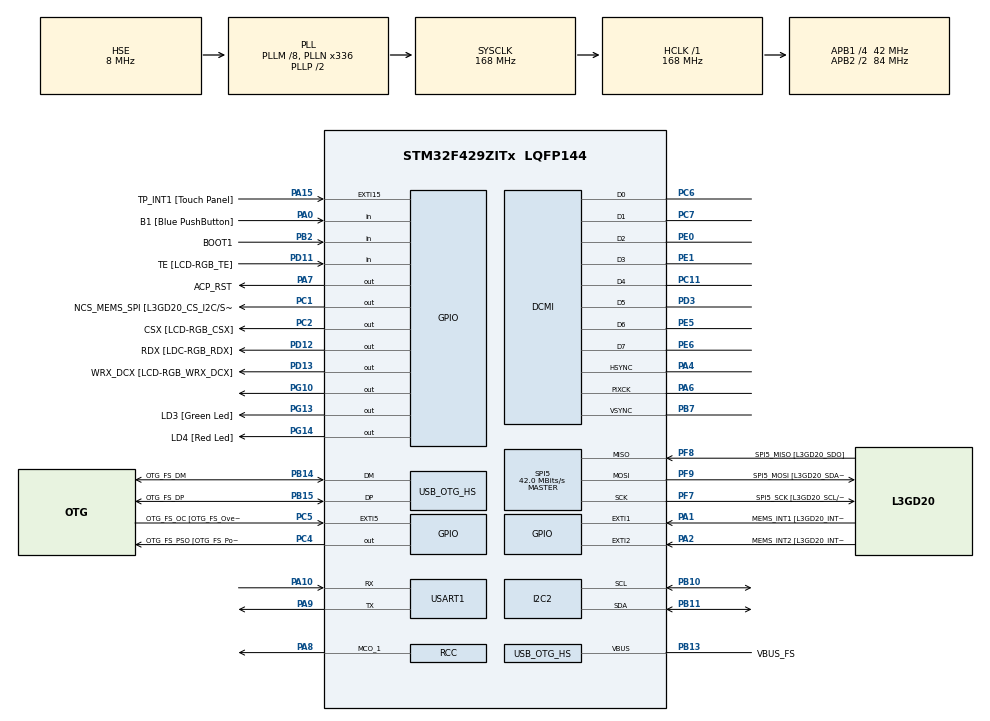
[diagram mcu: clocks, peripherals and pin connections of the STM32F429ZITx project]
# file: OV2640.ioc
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DCMI.JPEGMode=DCMI_JPEG_ENABLE
DCMI.PCKPolarity=DCMI_PCKPOLARITY_RISING
Dma.DCMI.0.Direction=DMA_PERIPH_TO_MEMORY
Dma.DCMI.0.FIFOMode=DMA_FIFOMODE_ENABLE
Dma.DCMI.0.FIFOThreshold=DMA_FIFO_THRESHOLD_FULL
Dma.DCMI.0.Instance=DMA2_Stream1
Dma.DCMI.0.MemBurst=DMA_MBURST_SINGLE
Dma.DCMI.0.MemDataAlignment=DMA_MDATAALIGN_WORD
Dma.DCMI.0.MemInc=DMA_MINC_ENABLE
Dma.DCMI.0.Mode=DMA_NORMAL
Dma.DCMI.0.PeriphBurst=DMA_PBURST_SINGLE
Dma.DCMI.0.PeriphDataAlignment=DMA_PDATAALIGN_WORD
Dma.DCMI.0.PeriphInc=DMA_PINC_DISABLE
Dma.DCMI.0.Priority=DMA_PRIORITY_VERY_HIGH
Dma.Request0=DCMI
Mcu.Family=STM32F4
Mcu.Name=STM32F429ZITx
Mcu.Package=LQFP144
NVIC.DMA2_Stream1_IRQn=true\:0\:0\:false\:false\:true\:false
NVIC.OTG_HS_IRQn=true\:0\:0\:false\:false\:true\:true
NVIC.PriorityGroup=NVIC_PRIORITYGROUP_0
PA0/WKUP.GPIO_Label=B1 [Blue PushButton]
PA0/WKUP.Signal=GPIO_Input
PA1.GPIO_Label=MEMS_INT1 [L3GD20_INT1]
PA1.GPIO_ModeDefaultEXTI=GPIO_MODE_EVT_RISING
PA1.GPIO_PuPd=GPIO_NOPULL
PA1.Signal=GPXTI1
PA10.Mode=Asynchronous
PA10.Signal=USART1_RX
PA13.GPIO_Label=SWDIO
PA13.Mode=Serial_Wire
PA13.Signal=SYS_JTMS-SWDIO
PA14.GPIO_Label=SWCLK
PA14.Mode=Serial_Wire
PA14.Signal=SYS_JTCK-SWCLK
PA15.GPIO_Label=TP_INT1 [Touch Panel]
PA15.GPIO_ModeDefaultEXTI=GPIO_MODE_EVT_RISING
PA15.GPIO_PuPd=GPIO_NOPULL
PA15.Signal=GPXTI15
PA2.GPIO_Label=MEMS_INT2 [L3GD20_INT2]
PA2.GPIO_ModeDefaultEXTI=GPIO_MODE_EVT_RISING
PA2.GPIO_PuPd=GPIO_NOPULL
PA2.Signal=GPXTI2
PA4.Mode=Slave_8_bits_External_Synchro
PA4.Signal=DCMI_HSYNC
PA6.Mode=Slave_8_bits_External_Synchro
PA6.Signal=DCMI_PIXCK
PA7.GPIO_Label=ACP_RST
PA7.GPIO_Mode=GPIO_MODE_OUTPUT_PP
PA7.GPIO_PuPd=GPIO_NOPULL
PA7.GPIO_Speed=GPIO_SPEED_FREQ_LOW
PA7.Signal=GPIO_Output
PA8.GPIO_Speed=GPIO_SPEED_FREQ_VERY_HIGH
PA8.Mode=Clock-out-1
PA8.Signal=RCC_MCO_1
PA9.Mode=Asynchronous
PA9.Signal=USART1_TX
PB10.Mode=I2C
PB10.Signal=I2C2_SCL
PB11.Mode=I2C
PB11.Signal=I2C2_SDA
PB13.GPIO_Label=VBUS_FS
PB13.GPIO_Mode=GPIO_MODE_INPUT
PB13.GPIO_PuPd=GPIO_NOPULL
PB13.Mode=Activate_VBUS_FS
PB13.Signal=USB_OTG_HS_VBUS
PB14.GPIO_Label=OTG_FS_DM
PB14.GPIO_Mode=GPIO_MODE_AF_PP
PB14.GPIO_PuPd=GPIO_NOPULL
PB14.GPIO_Speed=GPIO_SPEED_FREQ_LOW
PB14.Mode=Host_FS
PB14.Signal=USB_OTG_HS_DM
PB15.GPIO_Label=OTG_FS_DP
PB15.GPIO_Mode=GPIO_MODE_AF_PP
PB15.GPIO_PuPd=GPIO_NOPULL
PB15.GPIO_Speed=GPIO_SPEED_FREQ_LOW
PB15.Mode=Host_FS
PB15.Signal=USB_OTG_HS_DP
PB2/BOOT1.GPIO_Label=BOOT1
PB2/BOOT1.GPIO_Mode=GPIO_MODE_INPUT
PB2/BOOT1.GPIO_PuPd=GPIO_NOPULL
PB2/BOOT1.Signal=GPIO_Input
PB7.Mode=Slave_8_bits_External_Synchro
PB7.Signal=DCMI_VSYNC
PC1.GPIO_Label=NCS_MEMS_SPI [L3GD20_CS_I2C/SPI]
PC1.GPIO_Mode=GPIO_MODE_OUTPUT_PP
PC1.GPIO_PuPd=GPIO_NOPULL
PC1.GPIO_Speed=GPIO_SPEED_FREQ_LOW
PC1.Signal=GPIO_Output
PC11.Mode=Slave_8_bits_External_Synchro
PC11.Signal=DCMI_D4
PC2.GPIO_Label=CSX [LCD-RGB_CSX]
PC2.GPIO_Mode=GPIO_MODE_OUTPUT_PP
PC2.GPIO_PuPd=GPIO_NOPULL
PC2.GPIO_Speed=GPIO_SPEED_FREQ_LOW
PC2.Signal=GPIO_Output
PC4.GPIO_Label=OTG_FS_PSO [OTG_FS_PowerSwitchOn]
PC4.GPIO_Mode=GPIO_MODE_OUTPUT_PP
PC4.GPIO_PuPd=GPIO_NOPULL
PC4.GPIO_Speed=GPIO_SPEED_FREQ_LOW
PC4.Signal=GPIO_Output
PC5.GPIO_Label=OTG_FS_OC [OTG_FS_OverCurrent]
PC5.GPIO_ModeDefaultEXTI=GPIO_MODE_EVT_RISING
PC5.Signal=GPXTI5
PC6.Mode=Slave_8_bits_External_Synchro
PC6.Signal=DCMI_D0
PC7.Mode=Slave_8_bits_External_Synchro
PC7.Signal=DCMI_D1
PD11.GPIO_Label=TE [LCD-RGB_TE]
PD11.GPIO_Mode=GPIO_MODE_INPUT
PD11.GPIO_PuPd=GPIO_NOPULL
PD11.Signal=GPIO_Input
PD12.GPIO_Label=RDX [LDC-RGB_RDX]
PD12.GPIO_Mode=GPIO_MODE_OUTPUT_PP
PD12.GPIO_PuPd=GPIO_NOPULL
PD12.GPIO_Speed=GPIO_SPEED_FREQ_LOW
PD12.Signal=GPIO_Output
PD13.GPIO_Label=WRX_DCX [LCD-RGB_WRX_DCX]
PD13.GPIO_Mode=GPIO_MODE_OUTPUT_PP
PD13.GPIO_PuPd=GPIO_NOPULL
PD13.GPIO_Speed=GPIO_SPEED_FREQ_LOW
PD13.Signal=GPIO_Output
PD3.Mode=Slave_8_bits_External_Synchro
PD3.Signal=DCMI_D5
PE0.Mode=Slave_8_bits_External_Synchro
PE0.Signal=DCMI_D2
PE1.Mode=Slave_8_bits_External_Synchro
PE1.Signal=DCMI_D3
PE5.Mode=Slave_8_bits_External_Synchro
PE5.Signal=DCMI_D6
PE6.Mode=Slave_8_bits_External_Synchro
PE6.Signal=DCMI_D7
PF7.GPIO_Label=SPI5_SCK [L3GD20_SCL/SPC]
PF7.GPIO_Mode=GPIO_MODE_AF_PP
PF7.GPIO_PuPd=GPIO_NOPULL
PF7.GPIO_Speed=GPIO_SPEED_FREQ_LOW
PF7.Mode=Full_Duplex_Master
PF7.Signal=SPI5_SCK
PF8.GPIO_Label=SPI5_MISO [L3GD20_SDO]
PF8.GPIO_Mode=GPIO_MODE_AF_PP
PF8.GPIO_PuPd=GPIO_NOPULL
PF8.GPIO_Speed=GPIO_SPEED_FREQ_LOW
PF8.Mode=Full_Duplex_Master
PF8.Signal=SPI5_MISO
PF9.GPIO_Label=SPI5_MOSI [L3GD20_SDA/SDI/SDO]
PF9.GPIO_Mode=GPIO_MODE_AF_PP
PF9.GPIO_PuPd=GPIO_NOPULL
PF9.GPIO_Speed=GPIO_SPEED_FREQ_LOW
PF9.Mode=Full_Duplex_Master
PF9.Signal=SPI5_MOSI
PG10.Signal=GPIO_Output
PG13.GPIO_Label=LD3 [Green Led]
PG13.GPIO_Mode=GPIO_MODE_OUTPUT_PP
PG13.GPIO_PuPd=GPIO_NOPULL
PG13.GPIO_Speed=GPIO_SPEED_FREQ_LOW
PG13.Signal=GPIO_Output
PG14.GPIO_Label=LD4 [Red Led]
PG14.GPIO_Mode=GPIO_MODE_OUTPUT_PP
PG14.GPIO_PuPd=GPIO_NOPULL
PG14.GPIO_Speed=GPIO_SPEED_FREQ_LOW
PG14.Signal=GPIO_Output
PH0/OSC_IN.GPIO_Label=PH0-OSC_IN
PH0/OSC_IN.Mode=HSE-External-Oscillator
PH0/OSC_IN.Signal=RCC_OSC_IN
PH1/OSC_OUT.GPIO_Label=PH1-OSC_OUT
PH1/OSC_OUT.Mode=HSE-External-Oscillator
PH1/OSC_OUT.Signal=RCC_OSC_OUT
ProjectManager.HeapSize=0x1200
ProjectManager.StackSize=0x1400
ProjectManager.TargetToolchain=MDK-ARM V5
RCC.48MHZClocksFreq_Value=48000000
RCC.AHBFreq_Value=168000000
RCC.APB1CLKDivider=RCC_HCLK_DIV4
RCC.APB1Freq_Value=42000000
RCC.APB1TimFreq_Value=84000000
RCC.APB2CLKDivider=RCC_HCLK_DIV2
RCC.APB2Freq_Value=84000000
RCC.APB2TimFreq_Value=168000000
RCC.CortexFreq_Value=168000000
RCC.HCLKFreq_Value=168000000
RCC.HSE_VALUE=8000000
RCC.HSI_VALUE=16000000
RCC.LSE_VALUE=32768
RCC.PLLM=8
RCC.PLLN=336
RCC.PLLQ=7
RCC.PLLSAIN=260
RCC.SYSCLKFreq_VALUE=168000000
RCC.SYSCLKSource=RCC_SYSCLKSOURCE_PLLCLK
RCC.VCOOutputFreq_Value=336000000
SPI5.BaudRatePrescaler=SPI_BAUDRATEPRESCALER_2
SPI5.CalculateBaudRate=42.0 MBits/s
SPI5.Direction=SPI_DIRECTION_2LINES
SPI5.Mode=SPI_MODE_MASTER
SPI5.VirtualType=VM_MASTER
USART1.VirtualMode=VM_ASYNC
USB_HOST.BSP.number=1
USB_HOST.USBH_HandleTypeDef-CDC_HS=hUsbHostHS
USB_HOST.VirtualModeHS=Cdc
USB_HOST0.BSP.STBoard=false
USB_HOST0.BSP.api=UnknownBspDriver
USB_HOST0.BSP.i2caddr=0
USB_HOST0.BSP.i2creg=0
USB_HOST0.BSP.instance=PC4
USB_HOST0.BSP.ip=GPIO
USB_HOST0.BSP.mode=Output
USB_HOST0.BSP.name=Drive_VBUS_HS
USB_HOST0.BSP.solution=PC4
USB_OTG_HS.VirtualMode-Host_FS=Host_FS
VP_CRC_VS_CRC.Mode=CRC_Activate
VP_USB_HOST_VS_USB_HOST_CDC_HS.Mode=CDC_HS
board=32F429IDISCOVERY

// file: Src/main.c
/**
  ******************************************************************************
  * @file           : main.c
  * @brief          : Main program body
  ******************************************************************************
  * This notice applies to any and all portions of this file
  * that are not between comment pairs USER CODE BEGIN and
  * USER CODE END. Other portions of this file, whether
  * inserted by the user or by software development tools
  * are owned by their respective copyright owners.
  *
  * Copyright (c) 2018 STMicroelectronics International N.V.
  * All rights reserved.
  *
  * Redistribution and use in source and binary forms, with or without
  * modification, are permitted, provided that the following conditions are met:
  *
  * 1. Redistribution of source code must retain the above copyright notice,
  *    this list of conditions and the following disclaimer.
  * 2. Redistributions in binary form must reproduce the above copyright notice,
  *    this list of conditions and the following disclaimer in the documentation
  *    and/or other materials provided with the distribution.
  * 3. Neither the name of STMicroelectronics nor the names of other
  *    contributors to this software may be used to endorse or promote products
  *    derived from this software without specific written permission.
  * 4. This software, including modifications and/or derivative works of this
  *    software, must execute solely and exclusively on microcontroller or
  *    microprocessor devices manufactured by or for STMicroelectronics.
  * 5. Redistribution and use of this software other than as permitted under
  *    this license is void and will automatically terminate your rights under
  *    this license.
  *
  * THIS SOFTWARE IS PROVIDED BY STMICROELECTRONICS AND CONTRIBUTORS "AS IS"
  * AND ANY EXPRESS, IMPLIED OR STATUTORY WARRANTIES, INCLUDING, BUT NOT
  * LIMITED TO, THE IMPLIED WARRANTIES OF MERCHANTABILITY, FITNESS FOR A
  * PARTICULAR PURPOSE AND NON-INFRINGEMENT OF THIRD PARTY INTELLECTUAL PROPERTY
  * RIGHTS ARE DISCLAIMED TO THE FULLEST EXTENT PERMITTED BY LAW. IN NO EVENT
  * SHALL STMICROELECTRONICS OR CONTRIBUTORS BE LIABLE FOR ANY DIRECT, INDIRECT,
  * INCIDENTAL, SPECIAL, EXEMPLARY, OR CONSEQUENTIAL DAMAGES (INCLUDING, BUT NOT
  * LIMITED TO, PROCUREMENT OF SUBSTITUTE GOODS OR SERVICES; LOSS OF USE, DATA,
  * OR PROFITS; OR BUSINESS INTERRUPTION) HOWEVER CAUSED AND ON ANY THEORY OF
  * LIABILITY, WHETHER IN CONTRACT, STRICT LIABILITY, OR TORT (INCLUDING
  * NEGLIGENCE OR OTHERWISE) ARISING IN ANY WAY OUT OF THE USE OF THIS SOFTWARE,
  * EVEN IF ADVISED OF THE POSSIBILITY OF SUCH DAMAGE.
  *
  ******************************************************************************
  */
#include "main.h"
#include "stm32f4xx_hal.h"
#include "usb_host.h"

/* USER CODE BEGIN Includes */

#include "ov2640.h"

/* USER CODE END Includes */

CRC_HandleTypeDef hcrc;

DCMI_HandleTypeDef hdcmi;
DMA_HandleTypeDef hdma_dcmi;
DMA_HandleTypeDef hdma_usart1_tx;

I2C_HandleTypeDef hi2c2;

SPI_HandleTypeDef hspi5;

UART_HandleTypeDef huart1;

/* USER CODE BEGIN PV */
/* Private variables ---------------------------------------------------------*/

uint8_t CAMERA_FRAME_BUFFER [1024*32];
#define BufferLen (sizeof(CAMERA_FRAME_BUFFER)/sizeof(char))
/* USER CODE END PV */

void SystemClock_Config(void);
static void MX_GPIO_Init(void);
static void MX_DMA_Init(void);
static void MX_SPI5_Init(void);
static void MX_I2C2_Init(void);
static void MX_CRC_Init(void);
static void MX_DCMI_Init(void);
static void MX_USART1_UART_Init(void);
void MX_USB_HOST_Process(void);

/* USER CODE BEGIN PFP */
/* Private function prototypes -----------------------------------------------*/

/* USER CODE END PFP */

/* USER CODE BEGIN 0 */

int fputc(int ch, FILE *f)
{
  /* write a character to the uart1 and Loop until the end of transmission */
  HAL_UART_Transmit(&huart1, (uint8_t *)&ch, 1, 0xFFFF);

  return ch;
}

/* USER CODE END 0 */

int main(void)
{

  /* MCU Configuration----------------------------------------------------------*/

  /* Reset of all peripherals, Initializes the Flash interface and the Systick. */
  HAL_Init();

  /* Configure the system clock */
  SystemClock_Config();

  /* Initialize all configured peripherals */
  MX_GPIO_Init();
  MX_DMA_Init();
  MX_SPI5_Init();
  MX_USB_HOST_Init();
  MX_I2C2_Init();
  MX_CRC_Init();
  MX_DCMI_Init();
  MX_USART1_UART_Init();
  /* USER CODE BEGIN 2 */
	// printf("Camera Test\r\n");
	HAL_GPIO_WritePin(GPIOG, GPIO_PIN_10, GPIO_PIN_RESET);
	HAL_Delay(25);
	HAL_GPIO_WritePin(GPIOG, GPIO_PIN_10, GPIO_PIN_SET);
	HAL_Delay(100);
	OV2640_JPEGConfig(JPEG_320x240);
	HAL_Delay(100);
	OV2640_BrightnessConfig(0x20);
	HAL_Delay(100);
	OV2640_AutoExposure(2);
	HAL_Delay(100);
  /* USER CODE END 2 */

	HAL_DCMI_Stop(&hdcmi);
	HAL_UART_DMAStop(&huart1);
	MX_DCMI_Init();
	HAL_DCMI_Start_DMA(&hdcmi, DCMI_MODE_CONTINUOUS, (uint32_t)(&CAMERA_FRAME_BUFFER), 32 * 1024 / 4);

	/* Infinite loop */
  while (1)
  {
  MX_USB_HOST_Process();

  }

}

void SystemClock_Config(void)
{

  RCC_OscInitTypeDef RCC_OscInitStruct;
  RCC_ClkInitTypeDef RCC_ClkInitStruct;

    /**Configure the main internal regulator output voltage
    */
  __HAL_RCC_PWR_CLK_ENABLE();

  __HAL_PWR_VOLTAGESCALING_CONFIG(PWR_REGULATOR_VOLTAGE_SCALE1);

    /**Initializes the CPU, AHB and APB busses clocks
    */
  RCC_OscInitStruct.OscillatorType = RCC_OSCILLATORTYPE_HSI|RCC_OSCILLATORTYPE_HSE;
  RCC_OscInitStruct.HSEState = RCC_HSE_ON;
  RCC_OscInitStruct.HSIState = RCC_HSI_ON;
  RCC_OscInitStruct.HSICalibrationValue = 16;
  RCC_OscInitStruct.PLL.PLLState = RCC_PLL_ON;
  RCC_OscInitStruct.PLL.PLLSource = RCC_PLLSOURCE_HSE;
  RCC_OscInitStruct.PLL.PLLM = 8;
  RCC_OscInitStruct.PLL.PLLN = 336;
  RCC_OscInitStruct.PLL.PLLP = RCC_PLLP_DIV2;
  RCC_OscInitStruct.PLL.PLLQ = 7;
  if (HAL_RCC_OscConfig(&RCC_OscInitStruct) != HAL_OK)
  {
    _Error_Handler(__FILE__, __LINE__);
  }

    /**Initializes the CPU, AHB and APB busses clocks
    */
  RCC_ClkInitStruct.ClockType = RCC_CLOCKTYPE_HCLK|RCC_CLOCKTYPE_SYSCLK
                              |RCC_CLOCKTYPE_PCLK1|RCC_CLOCKTYPE_PCLK2;
  RCC_ClkInitStruct.SYSCLKSource = RCC_SYSCLKSOURCE_PLLCLK;
  RCC_ClkInitStruct.AHBCLKDivider = RCC_SYSCLK_DIV1;
  RCC_ClkInitStruct.APB1CLKDivider = RCC_HCLK_DIV4;
  RCC_ClkInitStruct.APB2CLKDivider = RCC_HCLK_DIV2;

  if (HAL_RCC_ClockConfig(&RCC_ClkInitStruct, FLASH_LATENCY_5) != HAL_OK)
  {
    _Error_Handler(__FILE__, __LINE__);
  }

  HAL_RCC_MCOConfig(RCC_MCO1, RCC_MCO1SOURCE_HSI, RCC_MCODIV_1);

    /**Configure the Systick interrupt time
    */
  HAL_SYSTICK_Config(HAL_RCC_GetHCLKFreq()/1000);

    /**Configure the Systick
    */
  HAL_SYSTICK_CLKSourceConfig(SYSTICK_CLKSOURCE_HCLK);

  /* SysTick_IRQn interrupt configuration */
  HAL_NVIC_SetPriority(SysTick_IRQn, 0, 0);
}

/* CRC init function */
static void MX_CRC_Init(void)
{

  hcrc.Instance = CRC;
  if (HAL_CRC_Init(&hcrc) != HAL_OK)
  {
    _Error_Handler(__FILE__, __LINE__);
  }

}

/* DCMI init function */
static void MX_DCMI_Init(void)
{

  hdcmi.Instance = DCMI;
  hdcmi.Init.SynchroMode = DCMI_SYNCHRO_HARDWARE;
  hdcmi.Init.PCKPolarity = DCMI_PCKPOLARITY_RISING;
  hdcmi.Init.VSPolarity = DCMI_VSPOLARITY_LOW;
  hdcmi.Init.HSPolarity = DCMI_HSPOLARITY_LOW;
  hdcmi.Init.CaptureRate = DCMI_CR_ALL_FRAME;
  hdcmi.Init.ExtendedDataMode = DCMI_EXTEND_DATA_8B;
  hdcmi.Init.JPEGMode = DCMI_JPEG_ENABLE;
  if (HAL_DCMI_Init(&hdcmi) != HAL_OK)
  {
    _Error_Handler(__FILE__, __LINE__);
  }

}

/* I2C2 init function */
static void MX_I2C2_Init(void)
{

  hi2c2.Instance = I2C2;
  hi2c2.Init.ClockSpeed = 100000;
  hi2c2.Init.DutyCycle = I2C_DUTYCYCLE_2;
  hi2c2.Init.OwnAddress1 = 0;
  hi2c2.Init.AddressingMode = I2C_ADDRESSINGMODE_7BIT;
  hi2c2.Init.DualAddressMode = I2C_DUALADDRESS_DISABLED;
  hi2c2.Init.OwnAddress2 = 0;
  hi2c2.Init.GeneralCallMode = I2C_GENERALCALL_DISABLED;
  hi2c2.Init.NoStretchMode = I2C_NOSTRETCH_DISABLED;
  if (HAL_I2C_Init(&hi2c2) != HAL_OK)
  {
    _Error_Handler(__FILE__, __LINE__);
  }

}

/* SPI5 init function */
static void MX_SPI5_Init(void)
{

  /* SPI5 parameter configuration*/
  hspi5.Instance = SPI5;
  hspi5.Init.Mode = SPI_MODE_MASTER;
  hspi5.Init.Direction = SPI_DIRECTION_2LINES;
  hspi5.Init.DataSize = SPI_DATASIZE_8BIT;
  hspi5.Init.CLKPolarity = SPI_POLARITY_LOW;
  hspi5.Init.CLKPhase = SPI_PHASE_1EDGE;
  hspi5.Init.NSS = SPI_NSS_SOFT;
  hspi5.Init.BaudRatePrescaler = SPI_BAUDRATEPRESCALER_2;
  hspi5.Init.FirstBit = SPI_FIRSTBIT_MSB;
  hspi5.Init.TIMode = SPI_TIMODE_DISABLE;
  hspi5.Init.CRCCalculation = SPI_CRCCALCULATION_DISABLE;
  hspi5.Init.CRCPolynomial = 10;
  if (HAL_SPI_Init(&hspi5) != HAL_OK)
  {
    _Error_Handler(__FILE__, __LINE__);
  }

}

/* USART1 init function */
static void MX_USART1_UART_Init(void)
{

  huart1.Instance = USART1;
  huart1.Init.BaudRate = 115200;
  huart1.Init.WordLength = UART_WORDLENGTH_8B;
  huart1.Init.StopBits = UART_STOPBITS_1;
  huart1.Init.Parity = UART_PARITY_NONE;
  huart1.Init.Mode = UART_MODE_TX_RX;
  huart1.Init.HwFlowCtl = UART_HWCONTROL_NONE;
  huart1.Init.OverSampling = UART_OVERSAMPLING_16;
  if (HAL_UART_Init(&huart1) != HAL_OK)
  {
    _Error_Handler(__FILE__, __LINE__);
  }

}

static void MX_DMA_Init(void)
{
  /* DMA controller clock enable */
  __HAL_RCC_DMA2_CLK_ENABLE();
  __DMA2_CLK_ENABLE();

  /* DMA interrupt init */
  /* DMA2_Stream1_IRQn interrupt configuration */
  HAL_NVIC_SetPriority(DMA2_Stream1_IRQn, 0, 0);
  HAL_NVIC_EnableIRQ(DMA2_Stream1_IRQn);
  HAL_NVIC_SetPriority(DMA2_Stream7_IRQn, 0, 0);
  HAL_NVIC_EnableIRQ(DMA2_Stream7_IRQn);

}

/** Configure pins as
        * Analog
        * Input
        * Output
        * EVENT_OUT
        * EXTI
     PA8   ------> RCC_MCO_1
*/
static void MX_GPIO_Init(void)
{

  GPIO_InitTypeDef GPIO_InitStruct;

  /* GPIO Ports Clock Enable */
  __HAL_RCC_GPIOE_CLK_ENABLE();
  __HAL_RCC_GPIOF_CLK_ENABLE();
  __HAL_RCC_GPIOH_CLK_ENABLE();
  __HAL_RCC_GPIOC_CLK_ENABLE();
  __HAL_RCC_GPIOA_CLK_ENABLE();
  __HAL_RCC_GPIOB_CLK_ENABLE();
  __HAL_RCC_GPIOD_CLK_ENABLE();
  __HAL_RCC_GPIOG_CLK_ENABLE();

  /*Configure GPIO pin Output Level */
  HAL_GPIO_WritePin(GPIOC, NCS_MEMS_SPI_Pin|CSX_Pin|OTG_FS_PSO_Pin, GPIO_PIN_RESET);

  /*Configure GPIO pin Output Level */
  HAL_GPIO_WritePin(ACP_RST_GPIO_Port, ACP_RST_Pin, GPIO_PIN_RESET);

  /*Configure GPIO pin Output Level */
  HAL_GPIO_WritePin(GPIOD, RDX_Pin|WRX_DCX_Pin, GPIO_PIN_RESET);

  /*Configure GPIO pin Output Level */
  HAL_GPIO_WritePin(GPIOG, GPIO_PIN_10|LD3_Pin|LD4_Pin, GPIO_PIN_RESET);

  /*Configure GPIO pins : NCS_MEMS_SPI_Pin CSX_Pin OTG_FS_PSO_Pin */
  GPIO_InitStruct.Pin = NCS_MEMS_SPI_Pin|CSX_Pin|OTG_FS_PSO_Pin;
  GPIO_InitStruct.Mode = GPIO_MODE_OUTPUT_PP;
  GPIO_InitStruct.Pull = GPIO_NOPULL;
  GPIO_InitStruct.Speed = GPIO_SPEED_FREQ_LOW;
  HAL_GPIO_Init(GPIOC, &GPIO_InitStruct);

  GPIO_InitStruct.Pin = B1_Pin;
  GPIO_InitStruct.Mode = GPIO_MODE_INPUT;
  GPIO_InitStruct.Pull = GPIO_NOPULL;
  HAL_GPIO_Init(GPIOA, &GPIO_InitStruct);

  /*Configure GPIO pins : B1_Pin MEMS_INT1_Pin MEMS_INT2_Pin TP_INT1_Pin */
  GPIO_InitStruct.Pin = MEMS_INT1_Pin|MEMS_INT2_Pin|TP_INT1_Pin;
  GPIO_InitStruct.Mode = GPIO_MODE_EVT_RISING;
  GPIO_InitStruct.Pull = GPIO_NOPULL;
  HAL_GPIO_Init(GPIOA, &GPIO_InitStruct);

  /*Configure GPIO pin : ACP_RST_Pin */
  GPIO_InitStruct.Pin = ACP_RST_Pin;
  GPIO_InitStruct.Mode = GPIO_MODE_OUTPUT_PP;
  GPIO_InitStruct.Pull = GPIO_NOPULL;
  GPIO_InitStruct.Speed = GPIO_SPEED_FREQ_LOW;
  HAL_GPIO_Init(ACP_RST_GPIO_Port, &GPIO_InitStruct);

  /*Configure GPIO pin : OTG_FS_OC_Pin */
  GPIO_InitStruct.Pin = OTG_FS_OC_Pin;
  GPIO_InitStruct.Mode = GPIO_MODE_EVT_RISING;
  GPIO_InitStruct.Pull = GPIO_NOPULL;
  HAL_GPIO_Init(OTG_FS_OC_GPIO_Port, &GPIO_InitStruct);

  /*Configure GPIO pin : BOOT1_Pin */
  GPIO_InitStruct.Pin = BOOT1_Pin;
  GPIO_InitStruct.Mode = GPIO_MODE_INPUT;
  GPIO_InitStruct.Pull = GPIO_NOPULL;
  HAL_GPIO_Init(BOOT1_GPIO_Port, &GPIO_InitStruct);

  /*Configure GPIO pin : TE_Pin */
  GPIO_InitStruct.Pin = TE_Pin;
  GPIO_InitStruct.Mode = GPIO_MODE_INPUT;
  GPIO_InitStruct.Pull = GPIO_NOPULL;
  HAL_GPIO_Init(TE_GPIO_Port, &GPIO_InitStruct);

  /*Configure GPIO pins : RDX_Pin WRX_DCX_Pin */
  GPIO_InitStruct.Pin = RDX_Pin|WRX_DCX_Pin;
  GPIO_InitStruct.Mode = GPIO_MODE_OUTPUT_PP;
  GPIO_InitStruct.Pull = GPIO_NOPULL;
  GPIO_InitStruct.Speed = GPIO_SPEED_FREQ_LOW;
  HAL_GPIO_Init(GPIOD, &GPIO_InitStruct);

  /*Configure GPIO pin : PA8 */
  GPIO_InitStruct.Pin = GPIO_PIN_8;
  GPIO_InitStruct.Mode = GPIO_MODE_AF_PP;
  GPIO_InitStruct.Pull = GPIO_NOPULL;
  GPIO_InitStruct.Speed = GPIO_SPEED_FREQ_VERY_HIGH;
  GPIO_InitStruct.Alternate = GPIO_AF0_MCO;
  HAL_GPIO_Init(GPIOA, &GPIO_InitStruct);

  /*Configure GPIO pins : PG10 LD3_Pin LD4_Pin */
  GPIO_InitStruct.Pin = GPIO_PIN_10|LD3_Pin|LD4_Pin;
  GPIO_InitStruct.Mode = GPIO_MODE_OUTPUT_PP;
  GPIO_InitStruct.Pull = GPIO_NOPULL;
  GPIO_InitStruct.Speed = GPIO_SPEED_FREQ_LOW;
  HAL_GPIO_Init(GPIOG, &GPIO_InitStruct);

}

/* USER CODE BEGIN 4 */

/**
  * @brief  Frame Event callback.
  * @param  hdcmi: pointer to a DCMI_HandleTypeDef structure that contains
  *                the configuration information for DCMI.
  * @retval None
  */
void HAL_DCMI_FrameEventCallback(DCMI_HandleTypeDef *hdcmi)
{
  /* NOTE : This function Should not be modified, when the callback is needed,
            the HAL_DCMI_FrameEventCallback could be implemented in the user file
   */

    uint8_t *p;
		uint32_t i=0,jpgstart=0,jpglen=0;
		uint8_t  head=0;

    HAL_DCMI_Stop(hdcmi);
		HAL_GPIO_TogglePin(LD4_GPIO_Port, LD4_Pin);

		p=(uint8_t*)&CAMERA_FRAME_BUFFER;
		for(i=0;i<1024*32; i++) //search for 0XFF 0XD8 and 0XFF 0XD9, get size of JPG
		{
						if((p[i]==0XFF)&&(p[i+1]==0XD8))
						{
										jpgstart=i;
										head=1;	// Already found  FF D8
						}
						if((p[i]==0XFF)&&(p[i+1]==0XD9)&&head)  //search for FF D9
						{
										jpglen=i-jpgstart+2;
										break;
						}
		}
		if(jpglen)
		{
			HAL_UART_Transmit(&huart1, p, jpglen, 2000);
		}

		HAL_DCMI_Start_DMA(hdcmi, DCMI_MODE_CONTINUOUS, (uint32_t)(&CAMERA_FRAME_BUFFER), 32 * 1024 / 4);

		__HAL_DCMI_ENABLE_IT(hdcmi,DCMI_IT_FRAME);

}

void HAL_DCMI_VsyncEventCallback(DCMI_HandleTypeDef *hdcmi){

}

void HAL_DCMI_LineEventCallback(DCMI_HandleTypeDef *hdcmi){
	// HAL_GPIO_TogglePin(LD4_GPIO_Port, LD4_Pin);

}

void HAL_DCMI_ErrorCallback(DCMI_HandleTypeDef *hdcmi){

}

/* USER CODE END 4 */

void _Error_Handler(char *file, int line)
{
  while(1)
  {
  }
}

/************************ (C) COPYRIGHT STMicroelectronics *****END OF FILE****/
